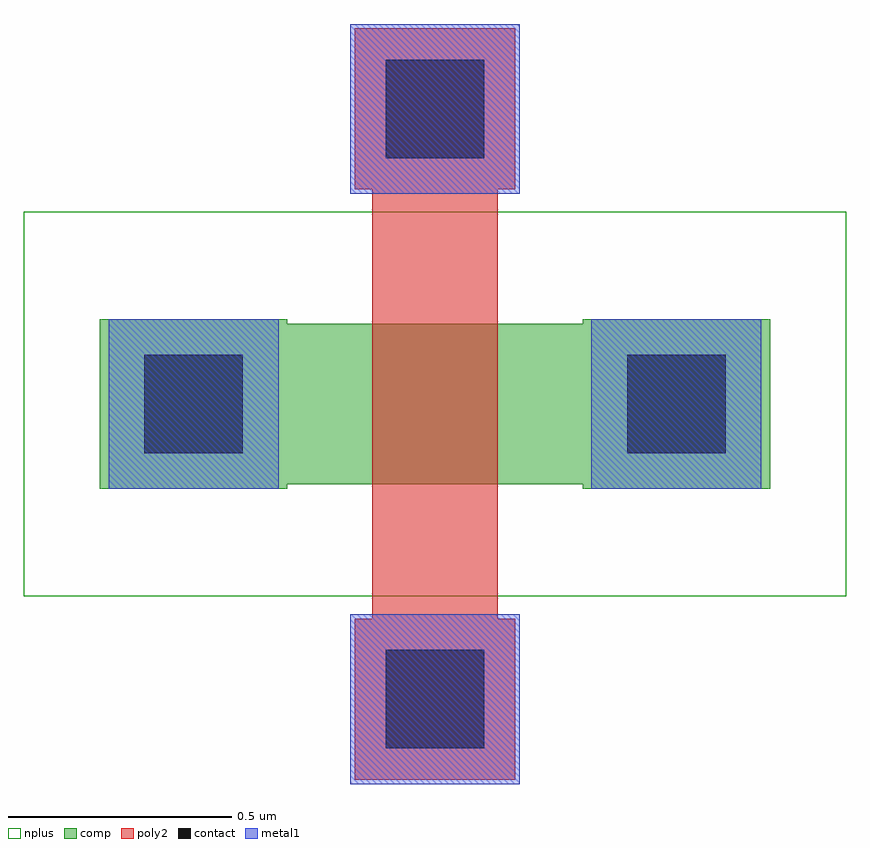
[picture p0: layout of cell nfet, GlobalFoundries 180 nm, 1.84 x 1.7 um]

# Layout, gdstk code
import gdstk
lib = gdstk.Library(unit=1e-6, precision=1e-09)
def R(c, l, rs):  # rectangles x0, y0, x1, y1
    for r in rs: c.add(gdstk.rectangle(r[:2], r[2:], *l))
def P(c, l, *ps):  # polygons
    for p in ps: c.add(gdstk.Polygon(p, *l))
comp = (22, 0)
poly2 = (30, 0)
nplus = (32, 0)
contact = (33, 0)
metal1 = (34, 0)

nfet = lib.new_cell('nfet')
P(nfet, comp, [(-0.42,-0.01),(-0.42,0.37),(0,0.37),(0,0.36),(0.66,0.36),(0.66,0.37),(1.08,0.37),(1.08,-0.01),(0.66,-0.01),(0.66,0),(0,0),(0,-0.01)])
P(nfet, poly2, [(0.15,-0.66),(0.15,-0.3),(0.19,-0.3),(0.19,0.66),(0.15,0.66),(0.15,1.02),(0.51,1.02),(0.51,0.66),(0.47,0.66),(0.47,-0.3),(0.51,-0.3),(0.51,-0.66)])
R(nfet, nplus, [(-0.59,-0.25,1.25,0.61)])
R(nfet, contact, [(0.22,-0.59,0.44,-0.37), (-0.32,0.07,-0.1,0.29), (0.76,0.07,0.98,0.29), (0.22,0.73,0.44,0.95)])
R(nfet, metal1, [(0.14,-0.67,0.52,-0.29), (-0.4,-0.01,-0.02,0.37), (0.68,-0.01,1.06,0.37), (0.14,0.65,0.52,1.03)])

lib.write_gds('nfet.gds')
